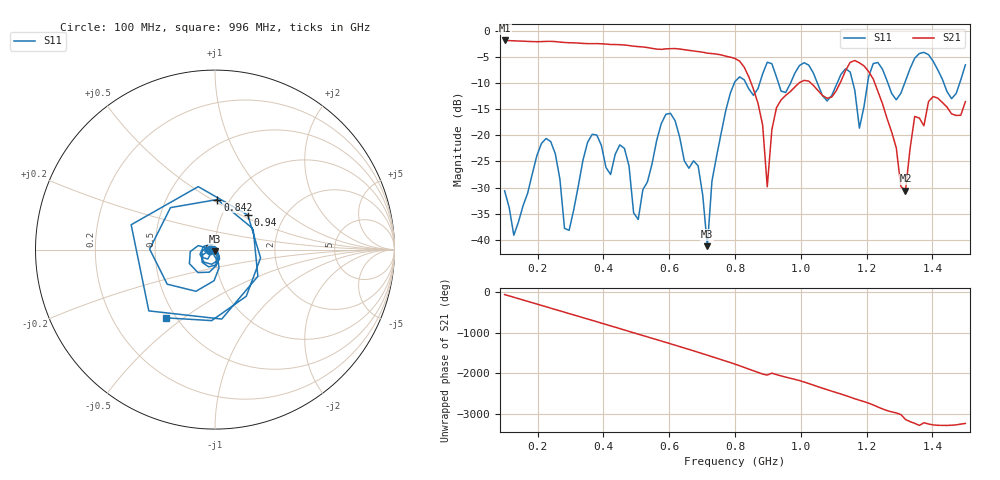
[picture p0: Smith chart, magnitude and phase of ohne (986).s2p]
! NanoVNA-App
! Date: 2025-09-25 14:28:28
! Start: 100MHz Stop: 1,5GHz Points: 101
! S-Parameter data: F S11 S21 S12 S22
# Hz S RI R 50
!  Frequency  S11_Real  S11_Imag  S21_Real  S21_Imag  S12_Real  S12_Imag  S22_Real  S22_Imag
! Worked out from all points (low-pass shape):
!   101 points, 100 MHz to 1.5 GHz, reference 50 ohm
!   highest |S21| = -1.79 dB at 100 MHz (marker M1); lowest = -30.6 dB at 1.318 GHz (marker M2)
!   |S21| within 3 dB of the highest: start of sweep to 771.2 MHz
!   lowest |S11| = -41.2 dB at 716 MHz (marker M3), VSWR 1.02, Z = 49.8 - j0.843 ohm
!   |S11| at or under -10 dB: start of sweep to 797.9 MHz; 833.3 MHz to 875 MHz (41.77 MHz wide, 4.89 % of centre); 1.05 GHz to 1.11 GHz (59.75 MHz wide, 5.53 % of centre) (the widest 3 of 7)
!   S12 and S22 are empty: the file has one direction only
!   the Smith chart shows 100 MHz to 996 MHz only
!   S11 on the Smith chart (normalised r, x): 100 MHz: 0.94, -0.01; 842 MHz: 0.88, +0.53; 940 MHz: 1.32, +0.55; 996 MHz: 0.44, -0.43
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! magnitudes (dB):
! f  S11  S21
! 100 MHz  -30.6  -1.8
! 128 MHz  -39.1  -1.9
! 226 MHz  -20.6  -2.0
! 296 MHz  -38.2  -2.2
! 338 MHz  -24.8  -2.4
! 464 MHz  -22.5  -2.7
! 506 MHz  -36.1  -3.0
! 576 MHz  -17.7  -3.5
! 688 MHz  -25.8  -3.9
! 716 MHz  -41.2  -4.2
! 800 MHz  -9.7  -5.3
! 842 MHz  -11.1  -8.8
! 898 MHz  -6.0  -29.9
! 940 MHz  -11.5  -13.2
! 996 MHz  -6.6  -9.9
! 1.038 GHz  -8.0  -10.4
! 1.178 GHz  -18.6  -6.1
! 1.22 GHz  -6.2  -9.2
! 1.276 GHz  -12.0  -19.4
! 1.318 GHz  -9.6  -30.6
! 1.346 GHz  -5.2  -16.4
! 1.5 GHz  -6.5  -13.5
